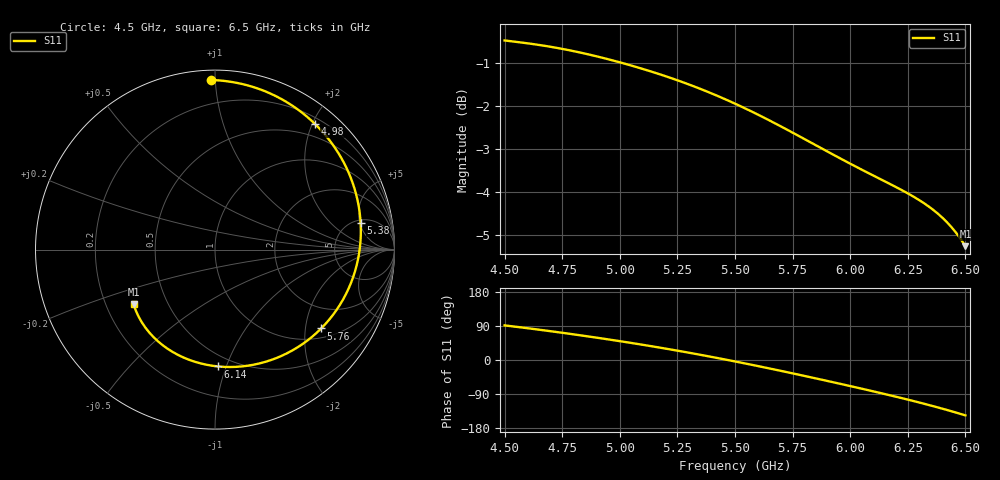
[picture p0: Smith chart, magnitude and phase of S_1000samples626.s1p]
! TOUCHSTONE file generated by CST MICROWAVE STUDIO
! Date and time: Fri Oct 28 19:49:39 2022
! Project name: L.cst
! Parameters = {Di=1.27; Epsilon_r=1.56; InnerDiameter=1.27; Length=2; Lf=10; Lg=60; OuterConductorThickness=0.2921; OuterDiameter=3.6; Wf=3; Wp=41.2; de=1.5; df=6.8; g=0.8; gx=3.11311; gy=3.60155; h=2.34; hf=1.524; px=11.3242; py=12.9844; w=9.7; wx=8.21105; wy=9.38287}
! Header version: 2018
! Port assignment regex: !\s*Touchstone port\s*([0-9]+)\s*=\s*(CST MWS port|CST DS port)\s*([0-9]+|Zmin|Zmax)\s*\(\"(.*)\"\)(\s*mode\s*([0-9]+))?.*
! Touchstone port assignment:
! Touchstone port 1 = CST MWS port 1 ("")
# GHz S DB R 50
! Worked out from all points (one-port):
!   101 points, 4.5 GHz to 6.5 GHz, reference 50 ohm
!   lowest |S11| = -5.3 dB at 6.5 GHz (marker M1), VSWR 3.41, Z = 15.9 - j13.8 ohm
!   |S11| at or under -10 dB: nowhere
!   S11 on the Smith chart (normalised r, x): 4.5 GHz: 0.05, +0.98; 4.98 GHz: 0.29, +2.04; 5.38 GHz: 5.60, +5.14; 5.76 GHz: 1.27, -2.44; 6.14 GHz: 0.41, -0.94; 6.5 GHz: 0.32, -0.28
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4.5  -0.49 91.3
4.64  -0.58 80.7
4.76  -0.69 71.0
4.86  -0.81 62.4
4.98  -0.97 51.6
5  -0.99 49.7
5.14  -1.21 36.1
5.26  -1.43 23.6
5.32  -1.55 17.0
5.38  -1.67 10.3
5.44  -1.81 3.3
5.5  -1.95 -3.8
5.56  -2.10 -11.1
5.62  -2.26 -18.6
5.68  -2.42 -26.2
5.76  -2.65 -36.6
5.82  -2.82 -44.5
5.88  -3.00 -52.5
5.94  -3.17 -60.6
6  -3.34 -68.8
6.08  -3.56 -79.9
6.14  -3.72 -88.4
6.2  -3.89 -97.1
6.26  -4.06 -106.1
6.32  -4.26 -115.4
6.38  -4.50 -125.1
6.44  -4.81 -135.3
6.5  -5.25 -146.2
